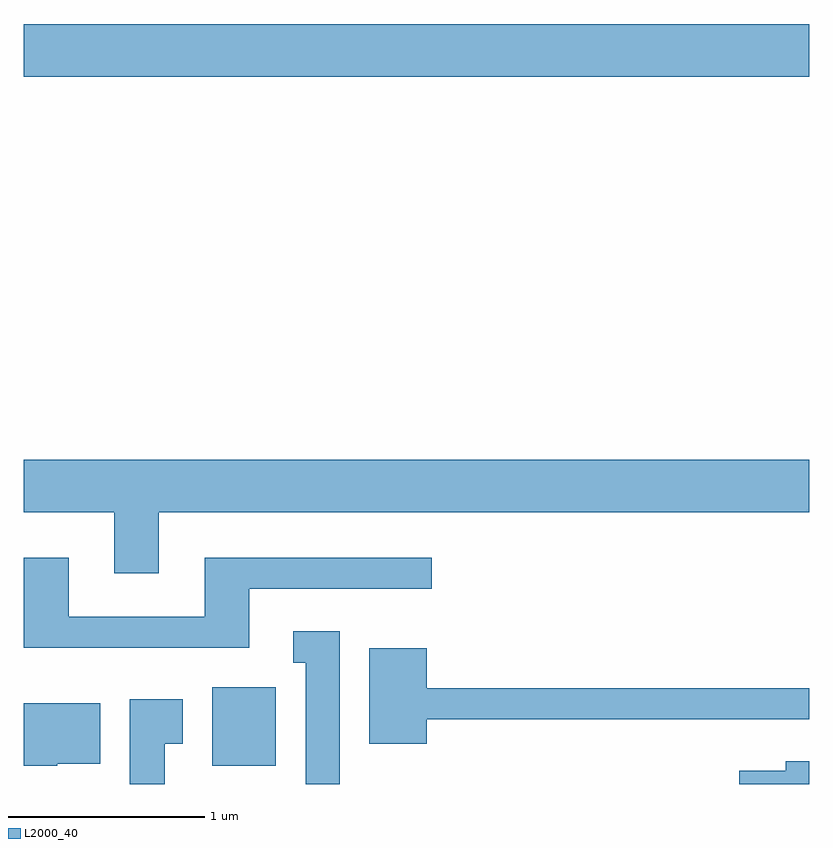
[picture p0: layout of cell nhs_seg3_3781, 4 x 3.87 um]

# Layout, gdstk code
import gdstk
lib = gdstk.Library(unit=1e-6, precision=1e-09)
def R(c, l, rs):  # rectangles x0, y0, x1, y1
    for r in rs: c.add(gdstk.rectangle(r[:2], r[2:], *l))
def P(c, l, *ps):  # polygons
    for p in ps: c.add(gdstk.Polygon(p, *l))
L2000_40 = (2000, 40)

nhs_seg3_3781 = lib.new_cell('nhs_seg3_3781')
R(nhs_seg3_3781, L2000_40, [(296.571,1197.986,296.894,1198.384), (295.611,1201.496,299.611,1201.764)])
P(nhs_seg3_3781, L2000_40, [(296.299,1199.276),(299.611,1199.276),(299.611,1199.544),(295.611,1199.544),(295.611,1199.276),(296.071,1199.276),(296.071,1198.966),(296.299,1198.966)],
  [(296.759,1198.886),(297.688,1198.886),(297.688,1199.044),(296.531,1199.044),(296.531,1198.744),(295.839,1198.744),(295.839,1199.044),(295.611,1199.044),(295.611,1198.586),(296.759,1198.586)],
  [(297.219,1198.669),(296.983,1198.669),(296.983,1198.511),(297.046,1198.511),(297.046,1197.892),(297.219,1197.892)],
  [(297.664,1198.221),(299.611,1198.221),(299.611,1198.379),(297.664,1198.379),(297.664,1198.584),(297.371,1198.584),(297.371,1198.096),(297.664,1198.096)],
  [(296.329,1198.096),(296.419,1198.096),(296.419,1198.324),(296.151,1198.324),(296.151,1197.892),(296.329,1197.892)],
  [(295.78,1197.996),(295.999,1197.996),(295.999,1198.304),(295.611,1198.304),(295.611,1197.986),(295.78,1197.986)],
  [(299.611,1198.009),(299.491,1198.009),(299.491,1197.959),(299.256,1197.959),(299.256,1197.892),(299.611,1197.892)])

lib.write_gds('nhs_seg3_3781.gds')
